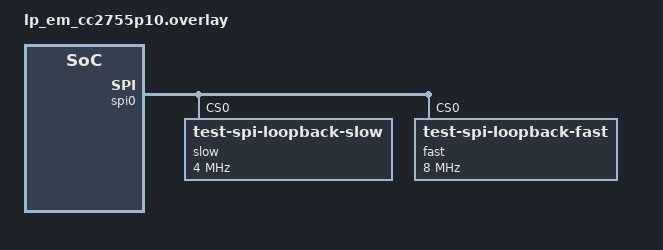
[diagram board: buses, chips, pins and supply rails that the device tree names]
/*
 * Copyright (c) 2026 Texas Instruments Incorporated
 *
 * SPDX-License-Identifier: Apache-2.0
 */

&spi0 {
	slow@0 {
		compatible = "test-spi-loopback-slow";
		reg = <0>;
		spi-max-frequency = <4000000>;
	};

	fast@0 {
		compatible = "test-spi-loopback-fast";
		reg = <0>;
		spi-max-frequency = <8000000>;
	};
};
